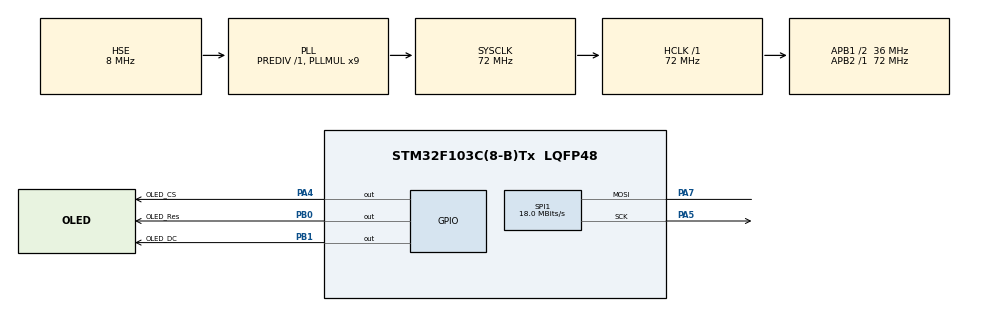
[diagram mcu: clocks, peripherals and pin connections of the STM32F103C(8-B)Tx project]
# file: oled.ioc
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Mcu.Family=STM32F1
Mcu.Name=STM32F103C(8-B)Tx
Mcu.Package=LQFP48
NVIC.PriorityGroup=NVIC_PRIORITYGROUP_4
PA13.Mode=Serial_Wire
PA13.Signal=SYS_JTMS-SWDIO
PA14.Mode=Serial_Wire
PA14.Signal=SYS_JTCK-SWCLK
PA4.GPIO_Label=OLED_CS
PA4.Signal=GPIO_Output
PA5.Mode=Simplex_Bidirectional_Master
PA5.Signal=SPI1_SCK
PA7.Mode=Simplex_Bidirectional_Master
PA7.Signal=SPI1_MOSI
PB0.GPIO_Label=OLED_Res
PB0.Signal=GPIO_Output
PB1.GPIO_Label=OLED_DC
PB1.Signal=GPIO_Output
PD0-OSC_IN.Mode=HSE-External-Oscillator
PD0-OSC_IN.Signal=RCC_OSC_IN
PD1-OSC_OUT.Mode=HSE-External-Oscillator
PD1-OSC_OUT.Signal=RCC_OSC_OUT
ProjectManager.HeapSize=0x200
ProjectManager.StackSize=0x400
ProjectManager.TargetToolchain=MDK-ARM V5.32
RCC.AHBFreq_Value=72000000
RCC.APB1CLKDivider=RCC_HCLK_DIV2
RCC.APB1Freq_Value=36000000
RCC.APB1TimFreq_Value=72000000
RCC.APB2Freq_Value=72000000
RCC.APB2TimFreq_Value=72000000
RCC.HCLKFreq_Value=72000000
RCC.PLLMUL=RCC_PLL_MUL9
RCC.PLLSourceVirtual=RCC_PLLSOURCE_HSE
RCC.SYSCLKFreq_VALUE=72000000
RCC.SYSCLKSource=RCC_SYSCLKSOURCE_PLLCLK
RCC.USBFreq_Value=72000000
SPI1.BaudRatePrescaler=SPI_BAUDRATEPRESCALER_4
SPI1.CLKPhase=SPI_PHASE_2EDGE
SPI1.CLKPolarity=SPI_POLARITY_HIGH
SPI1.CRCCalculation=SPI_CRCCALCULATION_DISABLE
SPI1.CalculateBaudRate=18.0 MBits/s
SPI1.DataSize=SPI_DATASIZE_8BIT
SPI1.Direction=SPI_DIRECTION_1LINE
SPI1.Mode=SPI_MODE_MASTER
SPI1.VirtualType=VM_MASTER
board=custom

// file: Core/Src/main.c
/* USER CODE BEGIN Header */
/**
  ******************************************************************************
  * @file           : main.c
  * @brief          : Main program body
  ******************************************************************************
  * @attention
  *
  * Copyright (c) 2025 STMicroelectronics.
  * All rights reserved.
  *
  * This software is licensed under terms that can be found in the LICENSE file
  * in the root directory of this software component.
  * If no LICENSE file comes with this software, it is provided AS-IS.
  *
  ******************************************************************************
  */
/* USER CODE END Header */
#include "main.h"
#include "spi.h"
#include "gpio.h"

/* USER CODE BEGIN Includes */
#include "ssd1306.h"
#include "ssd1306_fonts.h"

/* USER CODE END Includes */

void SystemClock_Config(void);

/* USER CODE BEGIN 0 */
void test_all_ssd1306_functions(void) {
    ssd1306_Init();

    // Fill screen with BLACK
    ssd1306_Fill(Black);
    ssd1306_UpdateScreen();
    HAL_Delay(1000);

    // Fill screen with WHITE
    ssd1306_Fill(White);
    ssd1306_UpdateScreen();
    HAL_Delay(1000);

    // Draw pixel in center
    ssd1306_Fill(Black);
    ssd1306_DrawPixel(64, 32, White);
    ssd1306_UpdateScreen();
    HAL_Delay(1000);

    // Write a single character
    ssd1306_Fill(Black);
    ssd1306_SetCursor(10, 10);
    ssd1306_WriteChar('A', Font_16x26, White);
    ssd1306_UpdateScreen();
    HAL_Delay(1000);

    // Write a string
    ssd1306_Fill(Black);
    ssd1306_SetCursor(0, 0);
    ssd1306_WriteString("Hello OLED", Font_6x8, White);
    ssd1306_UpdateScreen();
    HAL_Delay(1000);

    // Draw a line
    ssd1306_Fill(Black);
    ssd1306_Line(0, 0, 127, 63, White);
    ssd1306_UpdateScreen();
    HAL_Delay(1000);

    // Draw arc
    ssd1306_Fill(Black);
    ssd1306_DrawArc(64, 32, 30, 0, 180, White);
    ssd1306_UpdateScreen();
    HAL_Delay(1000);

    // Draw arc with radius line
    ssd1306_Fill(Black);
    ssd1306_DrawArcWithRadiusLine(64, 32, 30, 45, 180, White);
    ssd1306_UpdateScreen();
    HAL_Delay(1000);

    // Draw circle
    ssd1306_Fill(Black);
    ssd1306_DrawCircle(64, 32, 20, White);
    ssd1306_UpdateScreen();
    HAL_Delay(1000);

    // Fill circle
    ssd1306_Fill(Black);
    ssd1306_FillCircle(64, 32, 15, White);
    ssd1306_UpdateScreen();
    HAL_Delay(1000);

    // Polyline (????)
    SSD1306_VERTEX poly[] = {
        {20, 50},
        {64, 10},
        {108, 50},
        {20, 50}
    };
    ssd1306_Fill(Black);
    ssd1306_Polyline(poly, 4, White);
    ssd1306_UpdateScreen();
    HAL_Delay(1000);

    // Draw rectangle
    ssd1306_Fill(Black);
    ssd1306_DrawRectangle(10, 10, 100, 50, White);
    ssd1306_UpdateScreen();
    HAL_Delay(1000);

    // Fill rectangle
    ssd1306_Fill(Black);
    ssd1306_FillRectangle(20, 20, 80, 40, White);
    ssd1306_UpdateScreen();
    HAL_Delay(1000);
}
/* USER CODE END 0 */

int main(void)
{

  /* MCU Configuration--------------------------------------------------------*/

  /* Reset of all peripherals, Initializes the Flash interface and the Systick. */
  HAL_Init();

  /* Configure the system clock */
  SystemClock_Config();

  /* Initialize all configured peripherals */
  MX_GPIO_Init();
  MX_SPI1_Init();

  /* Infinite loop */
  while (1)
  {

    /* USER CODE BEGIN 3 */
		test_all_ssd1306_functions();

  }
  /* USER CODE END 3 */
}

void SystemClock_Config(void)
{
  RCC_OscInitTypeDef RCC_OscInitStruct = {0};
  RCC_ClkInitTypeDef RCC_ClkInitStruct = {0};

  /** Initializes the RCC Oscillators according to the specified parameters
  * in the RCC_OscInitTypeDef structure.
  */
  RCC_OscInitStruct.OscillatorType = RCC_OSCILLATORTYPE_HSE;
  RCC_OscInitStruct.HSEState = RCC_HSE_ON;
  RCC_OscInitStruct.HSEPredivValue = RCC_HSE_PREDIV_DIV1;
  RCC_OscInitStruct.HSIState = RCC_HSI_ON;
  RCC_OscInitStruct.PLL.PLLState = RCC_PLL_ON;
  RCC_OscInitStruct.PLL.PLLSource = RCC_PLLSOURCE_HSE;
  RCC_OscInitStruct.PLL.PLLMUL = RCC_PLL_MUL9;
  if (HAL_RCC_OscConfig(&RCC_OscInitStruct) != HAL_OK)
  {
    Error_Handler();
  }

  /** Initializes the CPU, AHB and APB buses clocks
  */
  RCC_ClkInitStruct.ClockType = RCC_CLOCKTYPE_HCLK|RCC_CLOCKTYPE_SYSCLK
                              |RCC_CLOCKTYPE_PCLK1|RCC_CLOCKTYPE_PCLK2;
  RCC_ClkInitStruct.SYSCLKSource = RCC_SYSCLKSOURCE_PLLCLK;
  RCC_ClkInitStruct.AHBCLKDivider = RCC_SYSCLK_DIV1;
  RCC_ClkInitStruct.APB1CLKDivider = RCC_HCLK_DIV2;
  RCC_ClkInitStruct.APB2CLKDivider = RCC_HCLK_DIV1;

  if (HAL_RCC_ClockConfig(&RCC_ClkInitStruct, FLASH_LATENCY_2) != HAL_OK)
  {
    Error_Handler();
  }
}

void Error_Handler(void)
{
  __disable_irq();
  while (1)
  {
  }
}
